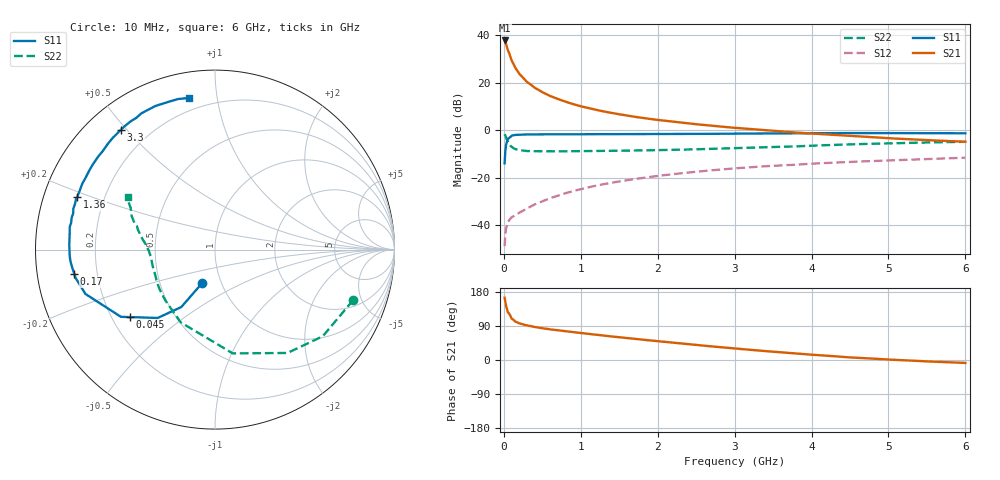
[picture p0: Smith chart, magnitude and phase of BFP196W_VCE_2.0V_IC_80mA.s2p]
! Infineon Technologies  Discrete & RF Semiconductors
! BFP196W
! VCE = 2.0 V,  IC =  80mA
! Common Emitter S-Parameters:  Jan 2016
# GHz  S  MA  R  50
!  f  S11  S21  S12  S22
! GHz  MAG  ANG  MAG  ANG  MAG  ANG  MAG  ANG
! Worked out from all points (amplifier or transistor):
!   210 points, 10 MHz to 6 GHz, reference 50 ohm
!   highest |S21| = 37.8 dB at 10 MHz (marker M1)
!   |S21| within 3 dB of that: start of sweep to 42.69 MHz
!   unconditionally stable (mu >= 1): 433.9 MHz to 3.44 GHz; 3.681 GHz to 3.832 GHz
!   at 185 MHz: K = 0.71, MSG = 29.8 dB, |S12| = -35.1 dB
!   at 1.52 GHz: K = 1.12, MAG = 11.9 dB, |S12| = -21.5 dB
!   at 6 GHz: K = 0.98, MSG = 3.4 dB, |S12| = -11.6 dB
!   S11 on the Smith chart (normalised r, x): 10 MHz: 0.81, -0.32; 45 MHz: 0.27, -0.33; 170 MHz: 0.11, -0.08; 1.36 GHz: 0.10, +0.18; 3.3 GHz: 0.10, +0.48; 6 GHz: 0.13, +0.84
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0.01  0.1997 -111.0  77.21 164.4  0.0036 73.5  0.8194 -20.1
0.02  0.3709 -120.4  72.09 152.5  0.0067 64.4  0.7706 -38.8
0.03  0.4973 -130.0  64.44 141.9  0.0086 57.1  0.7031 -55.0
0.045  0.6045 -141.5  53.03 131.3  0.0108 50.5  0.6035 -73.1
0.05  0.6445 -144.5  49.75 126.8  0.0115 48.8  0.5865 -80.3
0.1  0.7628 -161.1  29.42 109.4  0.0146 41.3  0.4482 -115.2
0.15  0.7925 -168.5  20.33 101.1  0.016 43.7  0.3985 -133.3
0.17  0.7954 -170.2  18.36 99.7  0.0169 45.3  0.3896 -137.4
0.2  0.8011 -172.6  15.42 96.8  0.0182 47.5  0.3803 -143.9
0.26  0.8086 -175.9  12.04 93.0  0.0205 51.4  0.3695 -151.4
0.3  0.8103 -177.7  10.36 91.2  0.0223 53.8  0.3631 -155.5
0.4  0.8122 178.8  7.815 87.0  0.0272 57.5  0.3598 -161.4
0.6  0.8145 173.6  5.242 80.9  0.0368 62.8  0.3583 -168.4
0.8  0.8154 169.3  3.958 75.9  0.0468 64.8  0.3581 -171.8
1.02  0.8167 165.3  3.121 70.9  0.0582 65.1  0.3616 -174.7
1.36  0.8221 159.2  2.367 63.1  0.076 64.2  0.3667 -177.6
2.02  0.8276 148.0  1.626 49.3  0.1094 59.9  0.3794 177.7
3.1  0.8449 131.0  1.086 28.7  0.1606 49.8  0.4213 169.3
3.3  0.849 128.0  1.028 25.2  0.1691 47.8  0.4314 167.5
4.1  0.8629 117.2  0.828 12.7  0.1999 40.5  0.4769 161.1
5.1  0.8631 106.9  0.662 0.3  0.233 32.0  0.5291 153.2
6  0.8572 99.7  0.569 -7.7  0.2627 25.4  0.5676 148.8
